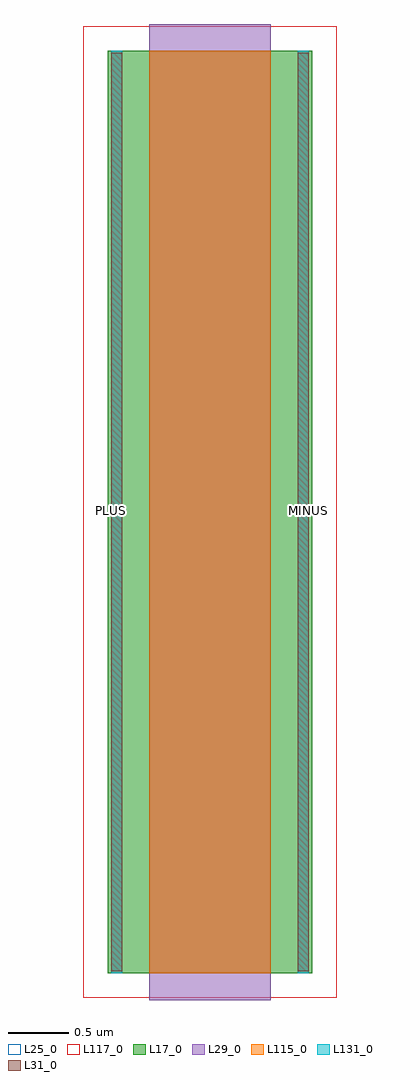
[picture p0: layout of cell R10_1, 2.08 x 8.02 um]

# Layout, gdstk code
import gdstk
lib = gdstk.Library(unit=1e-6, precision=1e-09)
def R(c, l, rs):  # rectangles x0, y0, x1, y1
    for r in rs: c.add(gdstk.rectangle(r[:2], r[2:], *l))
L17_0 = (17, 0)
L25_0 = (25, 0)
L29_0 = (29, 0)
L31_0 = (31, 0)
L115_0 = (115, 0)
L117_0 = (117, 0)
L131_0 = (131, 0)

r10_1 = lib.new_cell('R10_1')
R(r10_1, L17_0, [(0.2,0.22,1.88,7.8)])
R(r10_1, L25_0, [(0,0.02,2.08,8)])
R(r10_1, L29_0, [(0.54,0,1.54,8.02)])
R(r10_1, L31_0, [(0.23,0.235,0.32,7.785), (1.76,0.235,1.85,7.785)])
R(r10_1, L115_0, [(0.54,0.22,1.54,7.8)])
R(r10_1, L117_0, [(0,0.02,2.08,8)])
R(r10_1, L131_0, [(0.23,0.22,0.32,7.8), (1.76,0.22,1.85,7.8)])
r10_1.add(gdstk.Label('PLUS', (0.23,4.025), layer=131, texttype=0))
r10_1.add(gdstk.Label('MINUS', (1.85,4.025), layer=131, texttype=0))

lib.write_gds('R10_1.gds')
